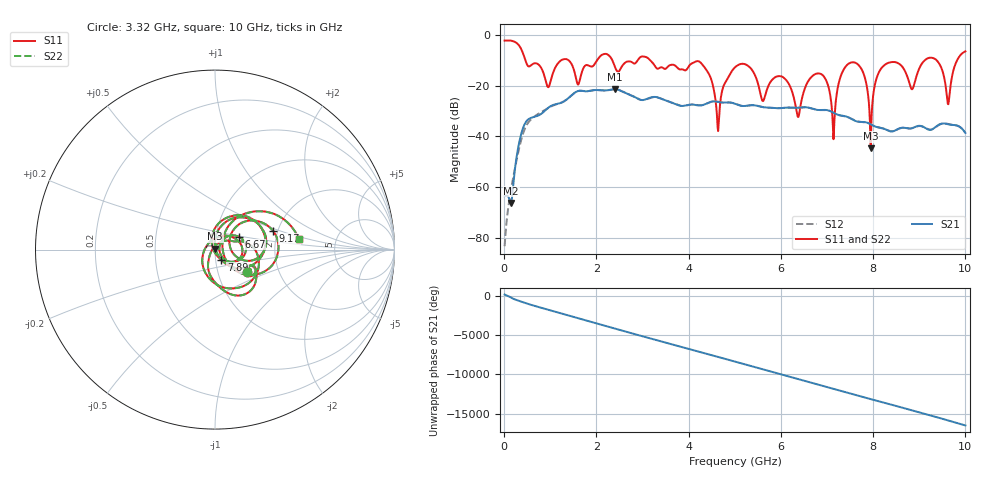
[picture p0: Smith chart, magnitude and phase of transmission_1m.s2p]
! TOUCHSTONE file generated by CST MICROWAVE STUDIO
! Date and time: Thu Jun 18 01:33:03 2020
! Project name: 12_June_3_vivaldi_Gen1_end_to_end_trial1a1.cst
! Parameters = {DL_X1=27; DL_X2=6; DL_Y1=-142; DL_Y2=-114; DL_thickness=0.5; DL_tip_pos=-142; DL_zenith=-80; Gt=0.01; R=10; Rline2_pos=-115; Rline_pos=-140; St=1.57; Ws=180; Z_port=130; bottom_stripW=40; bumpR=12; bumpX=21; bumpY=-18; circleR=25; esosorbT=3.2; esosorbW=15; feed_pos=14; feed_slot1_po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
! Header version: 2015
! Port assignment regex: !\s*Touchstone port\s*([0-9]+)\s*=\s*CST MWS port\s*([0-9]+)\s*\(\"(.*)\"\)(\s*mode\s*([0-9]+))?.*
! Touchstone port assignment:
! Touchstone port 1 = CST MWS port 1 ("")
! Touchstone port 2 = CST MWS port 2 ("")
# GHz S MA R 50
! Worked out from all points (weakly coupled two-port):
!   1000 points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, 10 MHz to 10 GHz, reference 50 ohm
!   highest |S21| = -21.43 dB at 2.4 GHz (marker M1); lowest = -66.1 dB at 150 MHz (marker M2)
!   lowest |S11| = -44.7 dB at 7.95 GHz (marker M3), VSWR 1.01, Z = 50.2 + j0.555 ohm
!   |S11| at or under -10 dB: 459.2 MHz to 1.24 GHz (780.5 MHz wide, 91.9 % of centre); 1.393 GHz to 2.016 GHz (623.8 MHz wide, 36.6 % of centre); 3.164 GHz to 9.123 GHz (5.959 GHz wide, 97 % of centre)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
!   |S22| runs from -43.7 to -2.2 dB; largest |S21 - S12| = 0.0036
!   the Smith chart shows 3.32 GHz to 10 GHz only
!   S11 on the Smith chart (normalised r, x): 3.32 GHz: 1.38, -0.35; 6.67 GHz: 1.29, +0.19; 7.89 GHz: 1.06, -0.12; 9.17 GHz: 1.88, +0.45; 10 GHz: 2.71, +0.41
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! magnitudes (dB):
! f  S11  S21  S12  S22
! 10 MHz  -2.3  -63.5  -83.1  -2.3
! 150 MHz  -2.3  -66.1  -60.7  -2.3
! 470 MHz  -10.6  -34.3  -36.1  -10.5
! 1.68 GHz  -15.0  -22.1  -22.0  -15.0
! 2.4 GHz  -12.5  -21.4  -21.4  -12.5
! 3.32 GHz  -13.3  -24.6  -24.6  -13.3
! 3.34 GHz  -13.3  -24.7  -24.7  -13.3
! 4.25 GHz  -10.8  -27.8  -27.7  -10.8
! 4.64 GHz  -37.9  -26.4  -26.4  -37.8
! 5.01 GHz  -12.7  -27.2  -27.1  -12.7
! 6.06 GHz  -16.9  -28.8  -28.8  -16.9
! 6.37 GHz  -32.4  -28.7  -28.7  -32.5
! 6.67 GHz  -16.5  -29.0  -29.0  -16.4
! 7.14 GHz  -41.1  -30.7  -30.6  -41.7
! 7.61 GHz  -11.0  -33.9  -33.7  -11.0
! 7.89 GHz  -23.6  -34.7  -34.7  -23.6
! 7.95 GHz  -44.7  -35.2  -35.2  -43.7
! 8.34 GHz  -11.0  -37.8  -37.7  -11.0
! 8.84 GHz  -21.5  -36.8  -36.7  -21.4
! 9.17 GHz  -9.4  -37.1  -37.0  -9.4
! 9.63 GHz  -27.3  -35.2  -35.1  -27.3
! 10 GHz  -6.5  -38.6  -38.6  -6.5
